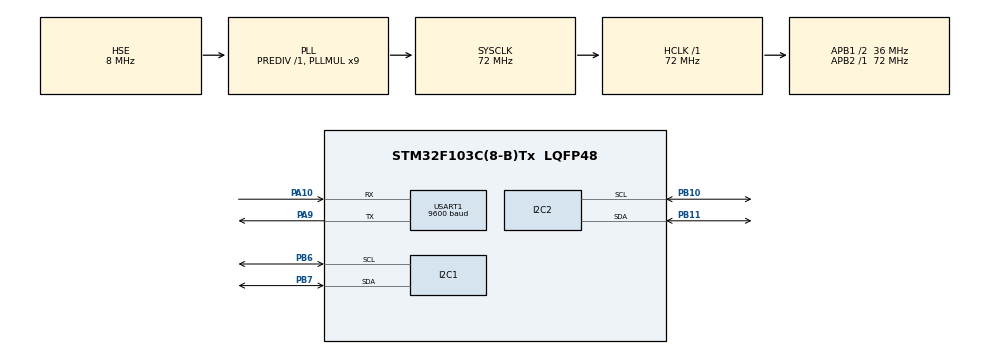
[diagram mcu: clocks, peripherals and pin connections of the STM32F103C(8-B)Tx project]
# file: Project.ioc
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Mcu.Family=STM32F1
Mcu.Name=STM32F103C(8-B)Tx
Mcu.Package=LQFP48
NVIC.PriorityGroup=NVIC_PRIORITYGROUP_4
PA10.Mode=Asynchronous
PA10.Signal=USART1_RX
PA13.Mode=Serial_Wire
PA13.Signal=SYS_JTMS-SWDIO
PA14.Mode=Serial_Wire
PA14.Signal=SYS_JTCK-SWCLK
PA9.Mode=Asynchronous
PA9.Signal=USART1_TX
PB10.Mode=I2C
PB10.Signal=I2C2_SCL
PB11.Mode=I2C
PB11.Signal=I2C2_SDA
PB6.Mode=I2C
PB6.Signal=I2C1_SCL
PB7.Mode=I2C
PB7.Signal=I2C1_SDA
PC14-OSC32_IN.Mode=LSE-External-Oscillator
PC14-OSC32_IN.Signal=RCC_OSC32_IN
PC15-OSC32_OUT.Mode=LSE-External-Oscillator
PC15-OSC32_OUT.Signal=RCC_OSC32_OUT
PD0-OSC_IN.Mode=HSE-External-Oscillator
PD0-OSC_IN.Signal=RCC_OSC_IN
PD1-OSC_OUT.Mode=HSE-External-Oscillator
PD1-OSC_OUT.Signal=RCC_OSC_OUT
ProjectManager.HeapSize=0x200
ProjectManager.StackSize=0x400
ProjectManager.TargetToolchain=MDK-ARM V5.32
RCC.AHBFreq_Value=72000000
RCC.APB1CLKDivider=RCC_HCLK_DIV2
RCC.APB1Freq_Value=36000000
RCC.APB1TimFreq_Value=72000000
RCC.APB2Freq_Value=72000000
RCC.APB2TimFreq_Value=72000000
RCC.HCLKFreq_Value=72000000
RCC.PLLMUL=RCC_PLL_MUL9
RCC.PLLSourceVirtual=RCC_PLLSOURCE_HSE
RCC.SYSCLKFreq_VALUE=72000000
RCC.SYSCLKSource=RCC_SYSCLKSOURCE_PLLCLK
RCC.USBFreq_Value=72000000
USART1.BaudRate=9600
USART1.VirtualMode=VM_ASYNC
board=custom

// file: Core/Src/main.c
/* USER CODE BEGIN Header */
/**
  ******************************************************************************
  * @file           : main.c
  * @brief          : Main program body
  ******************************************************************************
  * @attention
  *
  * Copyright (c) 2023 STMicroelectronics.
  * All rights reserved.
  *
  * This software is licensed under terms that can be found in the LICENSE file
  * in the root directory of this software component.
  * If no LICENSE file comes with this software, it is provided AS-IS.
  *
  ******************************************************************************
  */
/* USER CODE END Header */
#include "main.h"
#include "i2c.h"
#include "usart.h"
#include "gpio.h"

/* USER CODE BEGIN Includes */
#include "stdio.h"
#include "oled.h"
#include "bmp280.h"
/* USER CODE END Includes */

/* USER CODE BEGIN PV */
BMP280_HandleTypedef bmp280;
float pressure, temperature, humidity;
uint16_t sizeValue;
uint8_t dataValue[256];
/* USER CODE END PV */

void SystemClock_Config(void);

int main(void)
{
  /* USER CODE BEGIN 1 */
	uint8_t x = 0;
	uint8_t y = 0;
	float pressureValue = 0;
  /* USER CODE END 1 */

  /* MCU Configuration--------------------------------------------------------*/

  /* Reset of all peripherals, Initializes the Flash interface and the Systick. */
  HAL_Init();

  /* Configure the system clock */
  SystemClock_Config();

  /* Initialize all configured peripherals */
  MX_GPIO_Init();
  MX_USART1_UART_Init();
  MX_I2C1_Init();
  MX_I2C2_Init();
  /* USER CODE BEGIN 2 */
	OLED_Init();
	OLED_Clear();
	OLED_ShowChinese(x + 8 + 16 * 0, y + 2 * 0, 0);
	OLED_ShowChinese(x + 8 + 16 * 1, y + 2 * 0, 1);
	OLED_ShowChinese(x + 8 + 16 * 2, y + 2 * 0, 2);
	OLED_ShowChinese(x + 8 + 16 * 3, y + 2 * 0, 3);
	OLED_ShowChinese(x + 8 + 16 * 4, y + 2 * 0, 4);
	OLED_ShowChinese(x + 8 + 16 * 5, y + 2 * 0, 5);
	OLED_ShowChinese(x + 8 + 16 * 6, y + 2 * 0, 6);
	OLED_ShowChinese(x + 16 * 0, y + 2 * 2, 7);
	OLED_ShowChinese(x + 16 * 1, y + 2 * 2, 8);
	OLED_ShowChinese(x + 16 * 2, y + 2 * 2, 9);
	OLED_ShowChinese(x + 16 * 3, y + 2 * 2, 10);
	OLED_ShowChar(x + 16 * 4 + 8 * 0, y + 2 * 2, ':', 16);

	bmp280_init_default_params(&bmp280.params);
	bmp280.addr = BMP280_I2C_ADDRESS_0;
	bmp280.i2c = &hi2c1;
	while (!bmp280_init(&bmp280, &bmp280.params)) {
		sizeValue = sprintf((char *)dataValue, "BMP280 initialization failed\n");
		HAL_UART_Transmit(&huart1, dataValue, sizeValue, 1000);
		HAL_Delay(2000);
	}
	bool bme280p = bmp280.id == BME280_CHIP_ID;
	sizeValue = sprintf((char *)dataValue, "BMP280: found %s\n", bme280p?"BME280":"BMP280");
	HAL_UART_Transmit(&huart1, dataValue, sizeValue, 1000);
  /* USER CODE END 2 */

  /* Infinite loop */
  /* USER CODE BEGIN WHILE */
  while (1)
  {
		while(!bmp280_read_float(&bmp280, &temperature, &pressure, &humidity))
		{
			sizeValue = sprintf((char *)dataValue, "Temperature/pressure reading failed!\n");
			// HAL_UART_Transmit(&huart1, dataValue, sizeValue, 1000);
			HAL_Delay(2000);
		}
		sizeValue = sprintf((char *)dataValue,"Pressure: %.2f Pa, Temperature: %.2f C", pressure, temperature);
		// HAL_UART_Transmit(&huart1, dataValue, sizeValue, 1000);
		if(bme280p)
		{
			sizeValue = sprintf((char *)dataValue,", Humidity: %.2f\n", humidity);
			// HAL_UART_Transmit(&huart1, dataValue, sizeValue, 1000);
		}
		else
		{
			sizeValue = sprintf((char *)dataValue, "\n");
			// HAL_UART_Transmit(&huart1, dataValue, sizeValue, 1000);
		}
		pressureValue = pressure;
		OLED_ShowNum(x + 16 * 4 + 8 * 1, y + 2 * 2, pressureValue/1000, 4, 16);
		OLED_ShowChar(x + 16 * 4 + 8 * 5, y + 2 * 2, 'k', 16);
		OLED_ShowChar(x + 16 * 4 + 8 * 6, y + 2 * 2, 'P', 16);
		OLED_ShowChar(x + 16 * 4 + 8 * 7, y + 2 * 2, 'a', 16);

		printf("--------------------\n");
		printf("当前压强为：%.2f kPa\n", pressureValue/1000);
		printf("--------------------\n");

		HAL_Delay(1000);
    /* USER CODE END WHILE */

  }
}

void SystemClock_Config(void)
{
  RCC_OscInitTypeDef RCC_OscInitStruct = {0};
  RCC_ClkInitTypeDef RCC_ClkInitStruct = {0};

  /** Initializes the RCC Oscillators according to the specified parameters
  * in the RCC_OscInitTypeDef structure.
  */
  RCC_OscInitStruct.OscillatorType = RCC_OSCILLATORTYPE_HSE;
  RCC_OscInitStruct.HSEState = RCC_HSE_ON;
  RCC_OscInitStruct.HSEPredivValue = RCC_HSE_PREDIV_DIV1;
  RCC_OscInitStruct.HSIState = RCC_HSI_ON;
  RCC_OscInitStruct.PLL.PLLState = RCC_PLL_ON;
  RCC_OscInitStruct.PLL.PLLSource = RCC_PLLSOURCE_HSE;
  RCC_OscInitStruct.PLL.PLLMUL = RCC_PLL_MUL9;
  if (HAL_RCC_OscConfig(&RCC_OscInitStruct) != HAL_OK)
  {
    Error_Handler();
  }

  /** Initializes the CPU, AHB and APB buses clocks
  */
  RCC_ClkInitStruct.ClockType = RCC_CLOCKTYPE_HCLK|RCC_CLOCKTYPE_SYSCLK
                              |RCC_CLOCKTYPE_PCLK1|RCC_CLOCKTYPE_PCLK2;
  RCC_ClkInitStruct.SYSCLKSource = RCC_SYSCLKSOURCE_PLLCLK;
  RCC_ClkInitStruct.AHBCLKDivider = RCC_SYSCLK_DIV1;
  RCC_ClkInitStruct.APB1CLKDivider = RCC_HCLK_DIV2;
  RCC_ClkInitStruct.APB2CLKDivider = RCC_HCLK_DIV1;

  if (HAL_RCC_ClockConfig(&RCC_ClkInitStruct, FLASH_LATENCY_2) != HAL_OK)
  {
    Error_Handler();
  }
}

void Error_Handler(void)
{
  __disable_irq();
  while (1)
  {
  }
}
